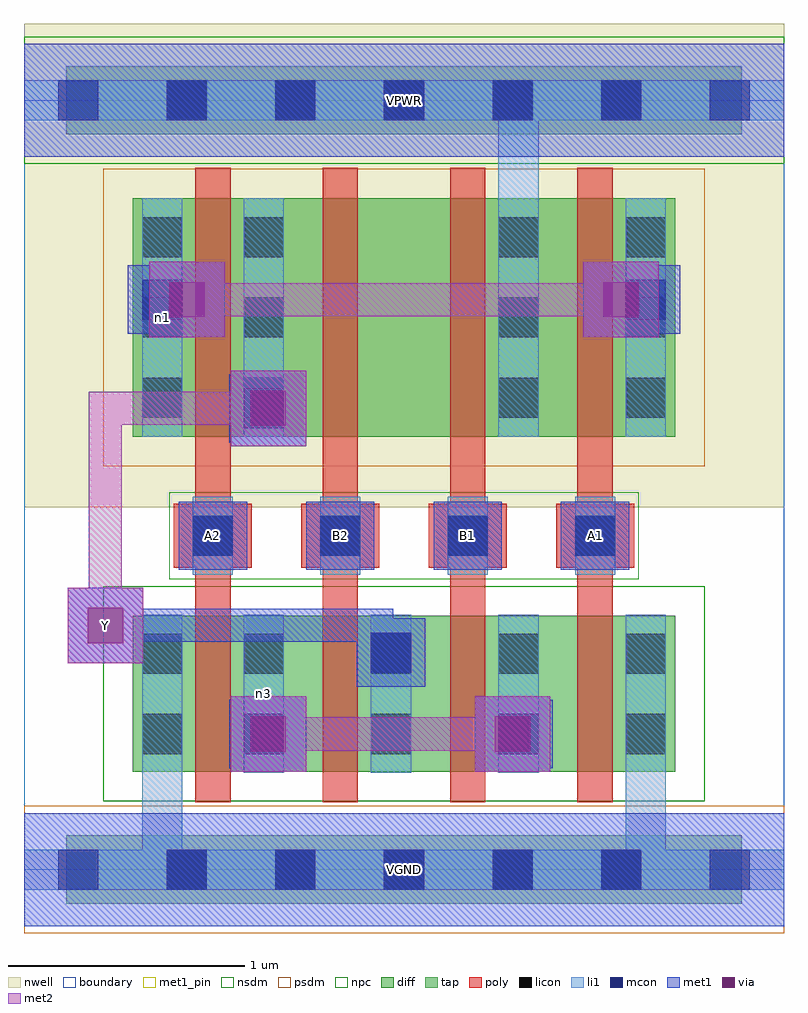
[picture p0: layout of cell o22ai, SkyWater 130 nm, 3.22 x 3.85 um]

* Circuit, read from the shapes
.subckt o22ai A1 A2 B1 B2 VGND VPWR Y n1 n3
XM1 n3 A2 VGND VGND sky130_fd_pr__nfet_01v8 w=0.66 l=0.15
XM2 Y B2 n3 VGND sky130_fd_pr__nfet_01v8 w=0.66 l=0.15
XM3 n3 B1 Y VGND sky130_fd_pr__nfet_01v8 w=0.66 l=0.15
XM4 VGND A1 n3 VGND sky130_fd_pr__nfet_01v8 w=0.66 l=0.15
XM5 Y A2 n1 VPWR sky130_fd_pr__pfet_01v8 w=1.01 l=0.15
XM6 n2 B2 Y VPWR sky130_fd_pr__pfet_01v8 w=1.01 l=0.15
XM7 VPWR B1 n2 VPWR sky130_fd_pr__pfet_01v8 w=1.01 l=0.15
XM8 n1 A1 VPWR VPWR sky130_fd_pr__pfet_01v8 w=1.01 l=0.15
.ends

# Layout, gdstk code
import gdstk
lib = gdstk.Library(unit=1e-6, precision=1e-09)
def R(c, l, rs):  # rectangles x0, y0, x1, y1
    for r in rs: c.add(gdstk.rectangle(r[:2], r[2:], *l))
def A(c, l, x, y, w, h, nx, ny, dx, dy):  # array of equal rectangles
    R(c, l, [(x+i*dx, y+j*dy, x+i*dx+w, y+j*dy+h) for i in range(nx) for j in range(ny)])
nwell = (64, 20)
diff = (65, 20)
tap = (65, 44)
poly = (66, 20)
licon = (66, 44)
li1 = (67, 20)
mcon = (67, 44)
met1_pin = (68, 16)
met1 = (68, 20)
via = (68, 44)
met2 = (69, 20)
nsdm = (93, 44)
psdm = (94, 20)
npc = (95, 20)
boundary = (235, 4)

o22ai = lib.new_cell('o22ai')
R(o22ai, nwell, [(0,1.535,3.22,3.585)])
R(o22ai, diff, [(0.46,0.415,2.76,1.075), (0.46,1.835,2.76,2.845)])
R(o22ai, tap, [(0.18,-0.145,3.04,0.145), (0.18,3.115,3.04,3.405)])
A(o22ai, poly, 0.725, 0.285, 0.15, 2.69, 4, 1, 0.54, 0)
A(o22ai, poly, 0.635, 1.28, 0.33, 0.27, 4, 1, 0.54, 0)
A(o22ai, licon, 0.605, -0.085, 0.17, 0.17, 5, 2, 0.46, 3.26)
A(o22ai, licon, 0.93, 0.49, 0.17, 0.17, 4, 2, 0.54, 0.34)
A(o22ai, licon, 0.715, 1.33, 0.17, 0.17, 4, 1, 0.54, 0)
A(o22ai, licon, 0.5, 1.915, 0.17, 0.17, 1, 3, 0, 0.34)
A(o22ai, licon, 0.93, 1.915, 0.17, 0.17, 1, 3, 0, 0.34)
A(o22ai, licon, 2.01, 1.915, 0.17, 0.17, 1, 3, 0, 0.34)
A(o22ai, licon, 2.55, 1.915, 0.17, 0.17, 1, 3, 0, 0.34)
R(o22ai, licon, [(0.5,0.49,0.67,0.66), (0.5,0.83,0.67,1)])
A(o22ai, li1, 0.93, 0.41, 0.17, 0.67, 4, 1, 0.54, 0)
A(o22ai, li1, 0.715, 1.25, 0.17, 0.33, 4, 1, 0.54, 0)
R(o22ai, li1, [(0,-0.085,3.22,0.085), (0.5,-0.085,0.67,1.08), (2.55,-0.085,2.72,1.08), (0.5,0.41,0.67,1.08), (0.5,1.835,0.67,2.845), (0.93,1.835,1.1,2.845), (2.01,1.835,2.18,2.845), (2.01,1.835,2.18,3.345), (2.55,1.835,2.72,2.845), (0,3.175,3.22,3.345)])
A(o22ai, mcon, 0.145, -0.085, 0.17, 0.17, 7, 2, 0.46, 3.26)
A(o22ai, mcon, 0.715, 1.33, 0.17, 0.17, 4, 1, 0.54, 0)
R(o22ai, mcon, [(0.93,0.49,1.1,0.66), (2.01,0.49,2.18,0.66), (1.47,0.835,1.64,1.005), (0.93,1.87,1.1,2.04), (0.5,2.33,0.67,2.5), (2.55,2.33,2.72,2.5)])
A(o22ai, met1_pin, 0.655, 1.27, 0.29, 0.29, 4, 1, 0.54, 0)
R(o22ai, met1_pin, [(0,-0.24,3.22,0.24), (0.185,0.875,0.505,1.195), (0,3.02,3.22,3.5)])
A(o22ai, met1, 0.655, 1.27, 0.29, 0.29, 4, 1, 0.54, 0)
R(o22ai, met1, [(0,-0.24,3.22,0.24), (0.875,0.415,1.195,0.735), (1.91,0.415,2.23,0.735), (0.87,0.43,1.16,0.72), (1.95,0.43,2.24,0.72), (0.945,0.505,1.105,0.645), (2,0.505,2.165,0.645), (1.41,0.775,1.7,1.065), (1.425,0.85,1.625,0.99), (1.425,0.85,1.565,1.105), (0.185,0.875,0.505,1.195), (0.275,0.965,1.565,1.105), (0.875,1.795,1.195,2.115), (0.87,1.81,1.16,2.1), (0.945,1.885,1.105,2.025), (0.53,2.255,0.85,2.575), (2.37,2.255,2.69,2.575), (0.44,2.27,0.73,2.56), (2.49,2.27,2.78,2.56), (0.515,2.345,0.76,2.485), (2.46,2.345,2.705,2.485), (0,3.02,3.22,3.5)])
R(o22ai, via, [(0.96,0.5,1.11,0.65), (1.995,0.5,2.145,0.65), (0.27,0.96,0.42,1.11), (0.96,1.88,1.11,2.03), (0.615,2.34,0.765,2.49), (2.455,2.34,2.605,2.49)])
R(o22ai, met2, [(0.875,0.415,1.195,0.735), (1.91,0.415,2.23,0.735), (0.965,0.505,2.14,0.645), (0.185,0.875,0.505,1.195), (0.275,0.965,0.415,2.025), (0.875,1.795,1.195,2.115), (0.275,1.885,1.105,2.025), (0.53,2.255,0.85,2.575), (2.37,2.255,2.69,2.575), (0.62,2.345,2.6,2.485)])
R(o22ai, nsdm, [(0.335,0.29,2.885,1.2), (0,2.99,3.22,3.53)])
R(o22ai, psdm, [(0,-0.27,3.22,0.27), (0.335,1.71,2.885,2.97)])
R(o22ai, npc, [(0.615,1.23,2.605,1.6)])
R(o22ai, boundary, [(0,0,3.22,3.26)])
o22ai.add(gdstk.Label('n3', (1.015,0.745), layer=67, texttype=5))
o22ai.add(gdstk.Label('n1', (0.585,2.34), layer=67, texttype=5))
o22ai.add(gdstk.Label('A1', (2.42,1.415), layer=68, texttype=5))
o22ai.add(gdstk.Label('A2', (0.8,1.415), layer=68, texttype=5))
o22ai.add(gdstk.Label('B1', (1.88,1.415), layer=68, texttype=5))
o22ai.add(gdstk.Label('B2', (1.34,1.415), layer=68, texttype=5))
o22ai.add(gdstk.Label('Y', (0.345,1.035), layer=68, texttype=5))
o22ai.add(gdstk.Label('VPWR', (1.61,3.26), layer=68, texttype=5))
o22ai.add(gdstk.Label('VGND', (1.61,0), layer=68, texttype=5))
o22ai.add(gdstk.Label('A1', (2.42,1.415), layer=68, texttype=16))
o22ai.add(gdstk.Label('A2', (0.8,1.415), layer=68, texttype=16))
o22ai.add(gdstk.Label('B1', (1.88,1.415), layer=68, texttype=16))
o22ai.add(gdstk.Label('B2', (1.34,1.415), layer=68, texttype=16))
o22ai.add(gdstk.Label('Y', (0.345,1.035), layer=68, texttype=16))
o22ai.add(gdstk.Label('VPWR', (1.61,3.26), layer=68, texttype=16))
o22ai.add(gdstk.Label('VGND', (1.61,0), layer=68, texttype=16))

lib.write_gds('o22ai.gds')
